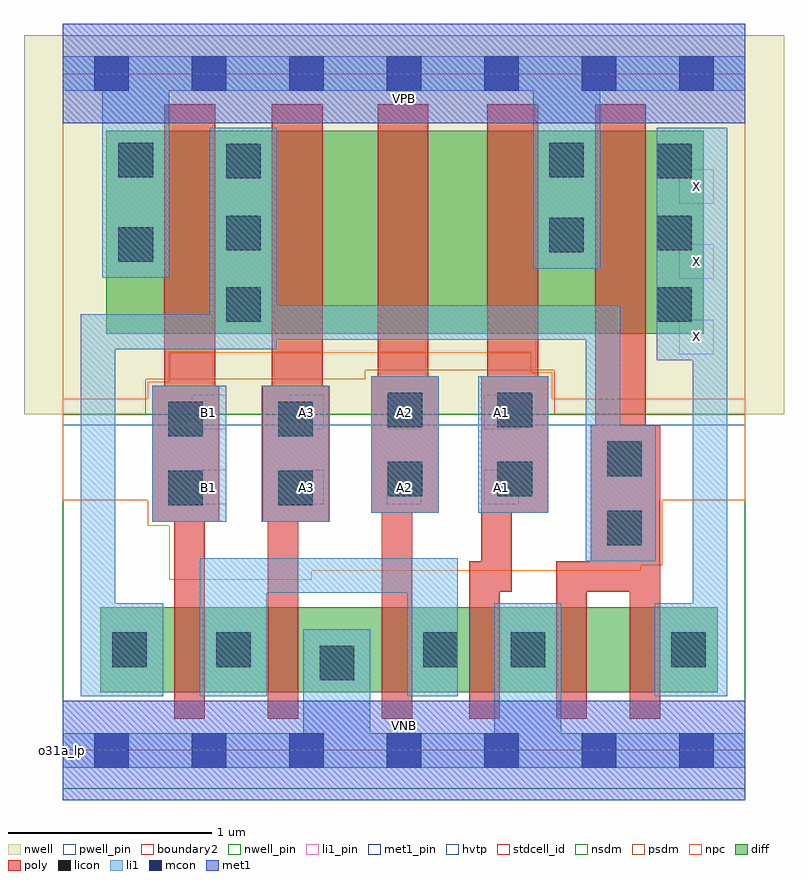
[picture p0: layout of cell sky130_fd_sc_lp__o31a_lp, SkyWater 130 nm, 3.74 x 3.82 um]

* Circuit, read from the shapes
.subckt sky130_fd_sc_lp__o31a_lp A1 A2 A3 B1 VGND VNB VPB VPWR X
XM1 n1 B1 n2 VNB sky130_fd_pr__nfet_01v8 w=0.42 l=0.15
XM2 VGND A3 n1 VNB sky130_fd_pr__nfet_01v8 w=0.42 l=0.15
XM3 n1 A2 VGND VNB sky130_fd_pr__nfet_01v8 w=0.42 l=0.15
XM4 VGND A1 n1 VNB sky130_fd_pr__nfet_01v8 w=0.42 l=0.15
XM5 n3 n2 VGND VNB sky130_fd_pr__nfet_01v8 w=0.42 l=0.15
XM6 X n2 n3 VNB sky130_fd_pr__nfet_01v8 w=0.42 l=0.15
XM7 n2 B1 VPWR VPB sky130_fd_pr__pfet_01v8_hvt w=1 l=0.25
XM8 n4 A3 n2 VPB sky130_fd_pr__pfet_01v8_hvt w=1 l=0.25
XM9 n5 A2 n4 VPB sky130_fd_pr__pfet_01v8_hvt w=1 l=0.25
XM10 VPWR A1 n5 VPB sky130_fd_pr__pfet_01v8_hvt w=1 l=0.25
XM11 X n2 VPWR VPB sky130_fd_pr__pfet_01v8_hvt w=1 l=0.25
.ends

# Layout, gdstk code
import gdstk
lib = gdstk.Library(unit=1e-6, precision=1e-09)
def R(c, l, rs):  # rectangles x0, y0, x1, y1
    for r in rs: c.add(gdstk.rectangle(r[:2], r[2:], *l))
def A(c, l, x, y, w, h, nx, ny, dx, dy):  # array of equal rectangles
    R(c, l, [(x+i*dx, y+j*dy, x+i*dx+w, y+j*dy+h) for i in range(nx) for j in range(ny)])
def P(c, l, *ps):  # polygons
    for p in ps: c.add(gdstk.Polygon(p, *l))
nwell_pin = (64, 16)
nwell = (64, 20)
diff = (65, 20)
poly = (66, 20)
licon = (66, 44)
li1_pin = (67, 16)
li1 = (67, 20)
mcon = (67, 44)
met1_pin = (68, 16)
met1 = (68, 20)
hvtp = (78, 44)
stdcell_id = (81, 4)
nsdm = (93, 44)
psdm = (94, 20)
npc = (95, 20)
pwell_pin = (122, 16)
boundary2 = (236, 0)

sky130_fd_sc_lp__o31a_lp = lib.new_cell('sky130_fd_sc_lp__o31a_lp')
R(sky130_fd_sc_lp__o31a_lp, nwell_pin, [(0,3.085,3.36,3.33)])
R(sky130_fd_sc_lp__o31a_lp, nwell, [(-0.19,1.655,3.55,3.52)])
R(sky130_fd_sc_lp__o31a_lp, diff, [(0.185,0.285,3.225,0.705), (0.215,2.05,3.155,3.05)])
P(sky130_fd_sc_lp__o31a_lp, poly, [(0.77,1.795),(0.75,1.795),(0.75,3.18),(0.5,3.18),(0.5,1.795),(0.44,1.795),(0.44,1.125),(0.55,1.125),(0.55,0.155),(0.7,0.155),(0.7,1.125),(0.77,1.125)],
  [(1.31,1.795),(1.28,1.795),(1.28,3.18),(1.03,3.18),(1.03,1.795),(0.98,1.795),(0.98,1.125),(1.01,1.125),(1.01,0.155),(1.16,0.155),(1.16,1.125),(1.31,1.125)],
  [(1.85,1.84),(1.8,1.84),(1.8,3.18),(1.55,3.18),(1.55,1.84),(1.52,1.84),(1.52,1.17),(1.57,1.17),(1.57,0.155),(1.72,0.155),(1.72,1.17),(1.85,1.17)],
  [(2.39,1.84),(2.34,1.84),(2.34,3.18),(2.09,3.18),(2.09,1.84),(2.06,1.84),(2.06,0.93),(2,0.93),(2,0.155),(2.15,0.155),(2.15,0.78),(2.21,0.78),(2.21,1.17),(2.39,1.17)],
  [(2.94,1.6),(2.87,1.6),(2.87,3.18),(2.62,3.18),(2.62,1.6),(2.6,1.6),(2.6,0.93),(2.43,0.93),(2.43,0.155),(2.58,0.155),(2.58,0.78),(2.79,0.78),(2.79,0.155),(2.94,0.155)])
R(sky130_fd_sc_lp__o31a_lp, licon, [(1.265,0.345,1.435,0.515), (0.245,0.41,0.415,0.58), (0.755,0.41,0.925,0.58), (1.775,0.41,1.945,0.58), (2.205,0.41,2.375,0.58), (2.995,0.41,3.165,0.58), (2.68,1.01,2.85,1.18), (0.52,1.205,0.69,1.375), (1.06,1.205,1.23,1.375), (1.6,1.25,1.77,1.42), (2.14,1.25,2.31,1.42), (2.68,1.35,2.85,1.52), (0.52,1.545,0.69,1.715), (1.06,1.545,1.23,1.715), (1.6,1.59,1.77,1.76), (2.14,1.59,2.31,1.76), (0.805,2.11,0.975,2.28), (2.925,2.11,3.095,2.28), (0.275,2.405,0.445,2.575), (2.395,2.45,2.565,2.62), (0.805,2.46,0.975,2.63), (2.925,2.46,3.095,2.63), (0.805,2.815,0.975,2.985), (2.925,2.815,3.095,2.985), (0.275,2.82,0.445,2.99), (2.395,2.82,2.565,2.99)])
A(sky130_fd_sc_lp__o31a_lp, li1_pin, 0.635, 1.21, 0.17, 0.17, 4, 2, 0.48, 0.37)
A(sky130_fd_sc_lp__o31a_lp, li1_pin, 3.035, 1.95, 0.17, 0.17, 1, 3, 0, 0.37)
R(sky130_fd_sc_lp__o31a_lp, li1, [(0.44,1.125,0.805,1.795), (0.985,1.125,1.315,1.795), (1.52,1.17,1.85,1.84), (2.045,1.17,2.39,1.84)])
P(sky130_fd_sc_lp__o31a_lp, li1, [(0.195,2.325),(0.195,3.245),(0,3.245),(0,3.415),(3.36,3.415),(3.36,3.245),(2.645,3.245),(2.645,2.37),(2.315,2.37),(2.315,3.245),(0.525,3.245),(0.525,2.325)],
  [(1.185,0.085),(1.185,0.595),(1.515,0.595),(1.515,0.085),(2.125,0.085),(2.125,0.725),(2.455,0.725),(2.455,0.085),(3.36,0.085),(3.36,-0.085),(0,-0.085),(0,0.085)],
  [(1.055,2.19),(2.745,2.19),(2.745,1.6),(2.92,1.6),(2.92,0.93),(2.575,0.93),(2.575,2.02),(1.055,2.02),(1.055,1.975),(0.26,1.975),(0.26,0.725),(0.495,0.725),(0.495,0.265),(0.09,0.265),(0.09,2.145),(0.725,2.145),(0.725,3.065),(1.055,3.065)],
  [(0.675,0.945),(1.945,0.945),(1.945,0.265),(1.695,0.265),(1.695,0.775),(1.005,0.775),(1.005,0.265),(0.675,0.265)],
  [(3.1,0.725),(3.1,1.92),(2.925,1.92),(2.925,3.065),(3.27,3.065),(3.27,0.265),(2.915,0.265),(2.915,0.725)])
A(sky130_fd_sc_lp__o31a_lp, mcon, 0.155, -0.085, 0.17, 0.17, 7, 2, 0.48, 3.33)
R(sky130_fd_sc_lp__o31a_lp, met1_pin, [(0,0,3.36,0.245), (0,3.085,3.36,3.33)])
R(sky130_fd_sc_lp__o31a_lp, met1, [(0,-0.245,3.36,0.245), (0,3.085,3.36,3.575)])
R(sky130_fd_sc_lp__o31a_lp, hvtp, [(0,1.6,3.36,3.33)])
R(sky130_fd_sc_lp__o31a_lp, stdcell_id, [(0,0,3.36,3.33)])
R(sky130_fd_sc_lp__o31a_lp, nsdm, [(0,-0.19,3.36,1.655)])
P(sky130_fd_sc_lp__o31a_lp, psdm, [(3.36,3.52),(0,3.52),(0,1.655),(0.41,1.655),(0.41,1.825),(1.49,1.825),(1.49,1.87),(2.42,1.87),(2.42,1.655),(3.36,1.655)])
P(sky130_fd_sc_lp__o31a_lp, npc, [(3.36,1.73),(2.41,1.73),(2.41,1.86),(2.305,1.86),(2.305,1.96),(0.525,1.96),(0.525,1.815),(0.42,1.815),(0.42,1.73),(0,1.73),(0,1.23),(0.42,1.23),(0.42,1.105),(0.525,1.105),(0.525,0.84),(1.225,0.84),(1.225,0.885),(2.845,0.885),(2.845,0.91),(2.95,0.91),(2.95,1.23),(3.36,1.23)])
R(sky130_fd_sc_lp__o31a_lp, pwell_pin, [(0,0,3.36,0.245)])
R(sky130_fd_sc_lp__o31a_lp, boundary2, [(0,0,3.36,3.33)])
sky130_fd_sc_lp__o31a_lp.add(gdstk.Label('VNB', (1.68,0.123), layer=64, texttype=59))
sky130_fd_sc_lp__o31a_lp.add(gdstk.Label('VPB', (1.68,3.208), layer=64, texttype=5))
sky130_fd_sc_lp__o31a_lp.add(gdstk.Label('o31a_lp', (0,0), layer=83, texttype=44))
sky130_fd_sc_lp__o31a_lp.add(gdstk.Label('VPWR', (1.68,3.208), layer=68, texttype=5))
sky130_fd_sc_lp__o31a_lp.add(gdstk.Label('VGND', (1.68,0.123), layer=68, texttype=5))
sky130_fd_sc_lp__o31a_lp.add(gdstk.Label('B1', (0.72,1.295), layer=67, texttype=5))
sky130_fd_sc_lp__o31a_lp.add(gdstk.Label('B1', (0.72,1.665), layer=67, texttype=5))
sky130_fd_sc_lp__o31a_lp.add(gdstk.Label('A3', (1.2,1.295), layer=67, texttype=5))
sky130_fd_sc_lp__o31a_lp.add(gdstk.Label('A3', (1.2,1.665), layer=67, texttype=5))
sky130_fd_sc_lp__o31a_lp.add(gdstk.Label('A2', (1.68,1.295), layer=67, texttype=5))
sky130_fd_sc_lp__o31a_lp.add(gdstk.Label('A2', (1.68,1.665), layer=67, texttype=5))
sky130_fd_sc_lp__o31a_lp.add(gdstk.Label('A1', (2.16,1.295), layer=67, texttype=5))
sky130_fd_sc_lp__o31a_lp.add(gdstk.Label('A1', (2.16,1.665), layer=67, texttype=5))
sky130_fd_sc_lp__o31a_lp.add(gdstk.Label('X', (3.12,2.035), layer=67, texttype=5))
sky130_fd_sc_lp__o31a_lp.add(gdstk.Label('X', (3.12,2.405), layer=67, texttype=5))
sky130_fd_sc_lp__o31a_lp.add(gdstk.Label('X', (3.12,2.775), layer=67, texttype=5))

lib.write_gds('sky130_fd_sc_lp__o31a_lp.gds')
